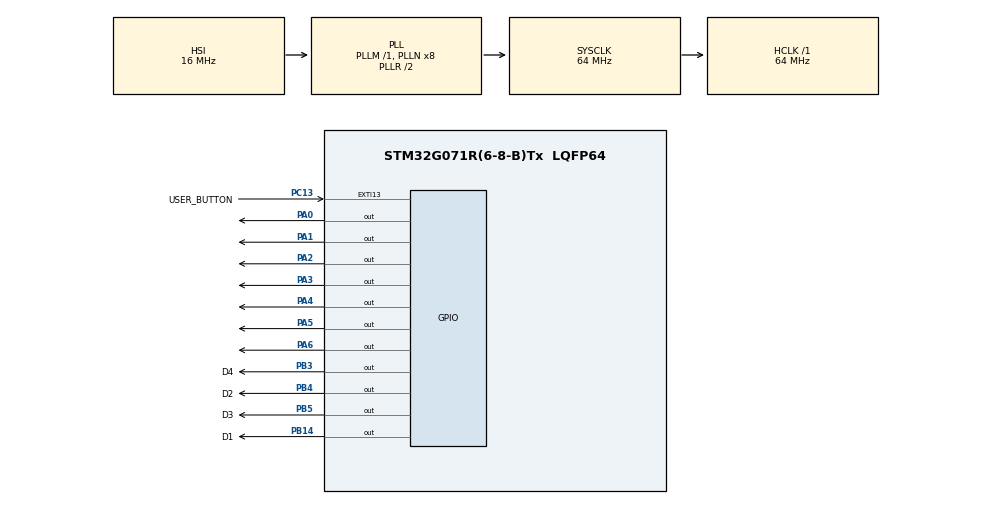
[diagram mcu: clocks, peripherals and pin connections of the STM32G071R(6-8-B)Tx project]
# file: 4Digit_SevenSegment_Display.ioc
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Mcu.Family=STM32G0
RCC.CortexFreq_Value=64000000
PC13.Signal=GPXTI13
PB14.GPIO_Label=D1
PA14-BOOT0.Mode=Serial_Wire
RCC.EXTERNAL_CLOCK_VALUE=48000
PC13.GPIO_Label=USER_BUTTON
RCC.SYSCLKSource=RCC_SYSCLKSOURCE_PLLCLK
ProjectManager.StackSize=0x400
PA13.Signal=SYS_SWDIO
ProjectManager.TargetToolchain=STM32CubeIDE
RCC.HCLKFreq_Value=64000000
RCC.LSE_VALUE=32768
PA1.Signal=GPIO_Output
RCC.AHBFreq_Value=64000000
PA14-BOOT0.Signal=SYS_SWCLK
PB14.Signal=GPIO_Output
PA5.Signal=GPIO_Output
RCC.HSE_VALUE=8000000
board=custom
RCC.VCOOutputFreq_Value=128000000
PB4.GPIO_Label=D2
RCC.ADCFreq_Value=64000000
VP_SYS_VS_DBSignals.Mode=DisableDeadBatterySignals
PA13.Mode=Serial_Wire
Mcu.Name=STM32G071R(6-8-B)Tx
PA2.Signal=GPIO_Output
PA0.Signal=GPIO_Output
PB3.Signal=GPIO_Output
PA4.Signal=GPIO_Output
RCC.SYSCLKFreq_VALUE=64000000
Mcu.Package=LQFP64
PB5.Signal=GPIO_Output
PA6.Signal=GPIO_Output
PC13.GPIO_ModeDefaultEXTI=GPIO_MODE_IT_FALLING
ProjectManager.HeapSize=0x200
RCC.HSI_VALUE=16000000
PB5.GPIO_Label=D3
NVIC.EXTI4_15_IRQn=true\:1\:0\:true\:false\:true\:true\:true
PB4.Signal=GPIO_Output
PA3.Signal=GPIO_Output
PB3.GPIO_Label=D4

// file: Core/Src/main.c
/* USER CODE BEGIN Header */
/**
  ******************************************************************************
  * @file           : main.c
  * @brief          : Main program body
  ******************************************************************************
  * @attention
  *
  * <h2><center>&copy; Copyright (c) 2021 STMicroelectronics.
  * All rights reserved.</center></h2>
  *
  * This software component is licensed by ST under BSD 3-Clause license,
  * the "License"; You may not use this file except in compliance with the
  * License. You may obtain a copy of the License at:
  *                        opensource.org/licenses/BSD-3-Clause
  *
  ******************************************************************************
  */
/* USER CODE END Header */
#include "main.h"

void SystemClock_Config(void);
static void MX_GPIO_Init(void);

/* USER CODE BEGIN 0 */
uint32_t counter = 0;
uint8_t temp1, temp2, temp3, temp4;

#define D1_HIGH() HAL_GPIO_WritePin(D1_GPIO_Port, D1_Pin, GPIO_PIN_SET)
#define D1_LOW() HAL_GPIO_WritePin(D1_GPIO_Port, D1_Pin, GPIO_PIN_RESET)
#define D2_HIGH() HAL_GPIO_WritePin(D2_GPIO_Port, D2_Pin, GPIO_PIN_SET)
#define D2_LOW() HAL_GPIO_WritePin(D2_GPIO_Port, D2_Pin, GPIO_PIN_RESET)
#define D3_HIGH() HAL_GPIO_WritePin(D3_GPIO_Port, D3_Pin, GPIO_PIN_SET)
#define D3_LOW() HAL_GPIO_WritePin(D3_GPIO_Port, D3_Pin, GPIO_PIN_RESET)
#define D4_HIGH() HAL_GPIO_WritePin(D4_GPIO_Port, D4_Pin, GPIO_PIN_SET)
#define D4_LOW() HAL_GPIO_WritePin(D4_GPIO_Port, D4_Pin, GPIO_PIN_RESET)

// Segment numbers stored in the array
uint8_t segmentNumber[10] = {
        0x3f,  // 0
        0x06,  // 1
        0x5b,  // 2
        0x4f,  // 3
        0x66,  // 4
        0x6d,  // 5
        0x7d,  // 6
        0x07,  // 7
        0x7f,  // 8
        0x67   // 9
};

void SevenSegment_Update(uint8_t number){
	HAL_GPIO_WritePin(GPIOA, GPIO_PIN_0, ((number>>0)&0x01));
	HAL_GPIO_WritePin(GPIOA, GPIO_PIN_1, ((number>>1)&0x01));
	HAL_GPIO_WritePin(GPIOA, GPIO_PIN_2, ((number>>2)&0x01));
	HAL_GPIO_WritePin(GPIOA, GPIO_PIN_3, ((number>>3)&0x01));
	HAL_GPIO_WritePin(GPIOA, GPIO_PIN_4, ((number>>4)&0x01));
	HAL_GPIO_WritePin(GPIOA, GPIO_PIN_5, ((number>>5)&0x01));
	HAL_GPIO_WritePin(GPIOA, GPIO_PIN_6, ((number>>6)&0x01));
}
/* USER CODE END 0 */

int main(void)
{

  /* MCU Configuration--------------------------------------------------------*/

  /* Reset of all peripherals, Initializes the Flash interface and the Systick. */
  HAL_Init();

  /* Configure the system clock */
  SystemClock_Config();

  /* Initialize all configured peripherals */
  MX_GPIO_Init();

  /* Infinite loop */
  while (1)
  {

    /* USER CODE BEGIN 3 */ // counter = 1234
	  temp1 = counter/1000; //1 - 1st digit
	  temp2 = ((counter/100)%10); //2 - 2nd digit
	  temp3 = ((counter/10)%10); //3 - 3rd digit
	  temp4 = (counter%10); //4 - 4th digit

	  SevenSegment_Update(segmentNumber[temp1]);
	  D1_LOW();
	  HAL_Delay(7);
	  D1_HIGH();

	  SevenSegment_Update(segmentNumber[temp2]);
	  D2_LOW();
	  HAL_Delay(7);
	  D2_HIGH();

	  SevenSegment_Update(segmentNumber[temp3]);
	  D3_LOW();
	  HAL_Delay(7);
	  D3_HIGH();

	  SevenSegment_Update(segmentNumber[temp4]);
	  D4_LOW();
	  HAL_Delay(7);
	  D4_HIGH();

	  counter++;

	  if (counter >= 1000) {
		counter = 0;
	}
  }
  /* USER CODE END 3 */
}

void SystemClock_Config(void)
{
  RCC_OscInitTypeDef RCC_OscInitStruct = {0};
  RCC_ClkInitTypeDef RCC_ClkInitStruct = {0};

  /** Configure the main internal regulator output voltage
  */
  HAL_PWREx_ControlVoltageScaling(PWR_REGULATOR_VOLTAGE_SCALE1);
  /** Initializes the RCC Oscillators according to the specified parameters
  * in the RCC_OscInitTypeDef structure.
  */
  RCC_OscInitStruct.OscillatorType = RCC_OSCILLATORTYPE_HSI;
  RCC_OscInitStruct.HSIState = RCC_HSI_ON;
  RCC_OscInitStruct.HSIDiv = RCC_HSI_DIV1;
  RCC_OscInitStruct.HSICalibrationValue = RCC_HSICALIBRATION_DEFAULT;
  RCC_OscInitStruct.PLL.PLLState = RCC_PLL_ON;
  RCC_OscInitStruct.PLL.PLLSource = RCC_PLLSOURCE_HSI;
  RCC_OscInitStruct.PLL.PLLM = RCC_PLLM_DIV1;
  RCC_OscInitStruct.PLL.PLLN = 8;
  RCC_OscInitStruct.PLL.PLLP = RCC_PLLP_DIV2;
  RCC_OscInitStruct.PLL.PLLQ = RCC_PLLQ_DIV2;
  RCC_OscInitStruct.PLL.PLLR = RCC_PLLR_DIV2;
  if (HAL_RCC_OscConfig(&RCC_OscInitStruct) != HAL_OK)
  {
    Error_Handler();
  }
  /** Initializes the CPU, AHB and APB buses clocks
  */
  RCC_ClkInitStruct.ClockType = RCC_CLOCKTYPE_HCLK|RCC_CLOCKTYPE_SYSCLK
                              |RCC_CLOCKTYPE_PCLK1;
  RCC_ClkInitStruct.SYSCLKSource = RCC_SYSCLKSOURCE_PLLCLK;
  RCC_ClkInitStruct.AHBCLKDivider = RCC_SYSCLK_DIV1;
  RCC_ClkInitStruct.APB1CLKDivider = RCC_HCLK_DIV1;

  if (HAL_RCC_ClockConfig(&RCC_ClkInitStruct, FLASH_LATENCY_2) != HAL_OK)
  {
    Error_Handler();
  }
}

static void MX_GPIO_Init(void)
{
  GPIO_InitTypeDef GPIO_InitStruct = {0};

  /* GPIO Ports Clock Enable */
  __HAL_RCC_GPIOC_CLK_ENABLE();
  __HAL_RCC_GPIOA_CLK_ENABLE();
  __HAL_RCC_GPIOB_CLK_ENABLE();

  /*Configure GPIO pin Output Level */
  HAL_GPIO_WritePin(GPIOA, GPIO_PIN_0|GPIO_PIN_1|GPIO_PIN_2|GPIO_PIN_3
                          |GPIO_PIN_4|GPIO_PIN_5|GPIO_PIN_6, GPIO_PIN_RESET);

  /*Configure GPIO pin Output Level */
  HAL_GPIO_WritePin(GPIOB, D1_Pin|D4_Pin|D2_Pin|D3_Pin, GPIO_PIN_RESET);

  /*Configure GPIO pin : USER_BUTTON_Pin */
  GPIO_InitStruct.Pin = USER_BUTTON_Pin;
  GPIO_InitStruct.Mode = GPIO_MODE_IT_FALLING;
  GPIO_InitStruct.Pull = GPIO_NOPULL;
  HAL_GPIO_Init(USER_BUTTON_GPIO_Port, &GPIO_InitStruct);

  /*Configure GPIO pins : PA0 PA1 PA2 PA3
                           PA4 PA5 PA6 */
  GPIO_InitStruct.Pin = GPIO_PIN_0|GPIO_PIN_1|GPIO_PIN_2|GPIO_PIN_3
                          |GPIO_PIN_4|GPIO_PIN_5|GPIO_PIN_6;
  GPIO_InitStruct.Mode = GPIO_MODE_OUTPUT_PP;
  GPIO_InitStruct.Pull = GPIO_NOPULL;
  GPIO_InitStruct.Speed = GPIO_SPEED_FREQ_LOW;
  HAL_GPIO_Init(GPIOA, &GPIO_InitStruct);

  /*Configure GPIO pins : D1_Pin D4_Pin D2_Pin D3_Pin */
  GPIO_InitStruct.Pin = D1_Pin|D4_Pin|D2_Pin|D3_Pin;
  GPIO_InitStruct.Mode = GPIO_MODE_OUTPUT_PP;
  GPIO_InitStruct.Pull = GPIO_NOPULL;
  GPIO_InitStruct.Speed = GPIO_SPEED_FREQ_LOW;
  HAL_GPIO_Init(GPIOB, &GPIO_InitStruct);

  /* EXTI interrupt init*/
  HAL_NVIC_SetPriority(EXTI4_15_IRQn, 1, 0);
  HAL_NVIC_EnableIRQ(EXTI4_15_IRQn);

}

void Error_Handler(void)
{
  __disable_irq();
  while (1)
  {
  }
}

/************************ (C) COPYRIGHT STMicroelectronics *****END OF FILE****/
